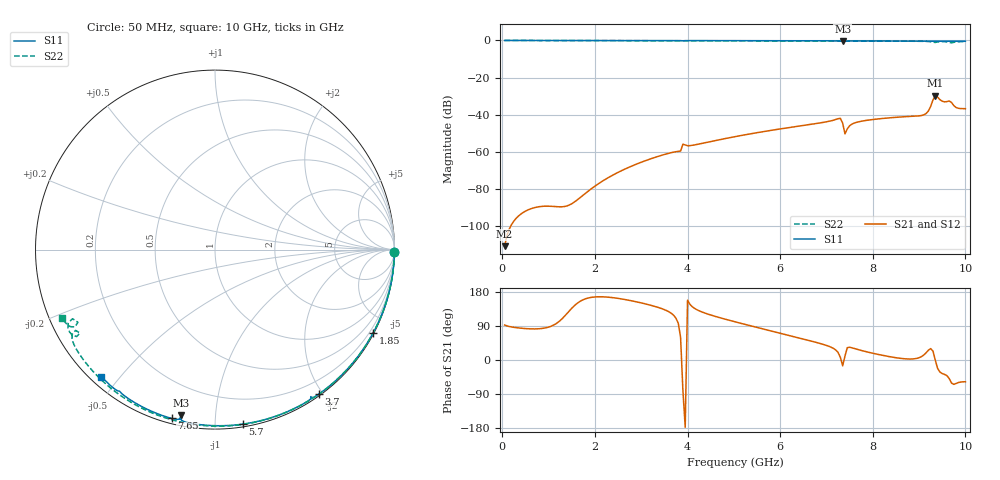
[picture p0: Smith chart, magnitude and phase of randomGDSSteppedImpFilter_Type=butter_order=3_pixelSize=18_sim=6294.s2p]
! freq	dB(S11)	phase(S11)	dB(S12)	phase(S12)
!  dB(S21)	phase(S21)	dB(S22)	phase(S22)
!S-par simulation data
#  GHz  S  DB  R 50
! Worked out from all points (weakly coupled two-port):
!   200 points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, 50 MHz to 10 GHz, reference 50 ohm
!   highest |S21| = -29.73 dB at 9.35 GHz (marker M1); lowest = -110.6 dB at 50 MHz (marker M2)
!   lowest |S11| = -0.5 dB at 7.35 GHz (marker M3), VSWR 34.33, Z = 2.42 - j40.7 ohm
!   |S11| at or under -10 dB: nowhere
!   |S22| runs from -1.3 to 0.0 dB; largest |S21 - S12| = 0
!   S11 on the Smith chart (normalised r, x): 50 MHz: open; 1.85 GHz: 0.04, -4.05; 3.7 GHz: 0.02, -1.95; 5.7 GHz: 0.02, -1.17; 7.65 GHz: 0.02, -0.77; 10 GHz: 0.03, -0.45
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0.05  -0.00 -0.8  -110.64 92.3  -110.64 92.3  -0.00 -0.9
1.75  -0.03 -26.3  -83.14 159.3  -83.14 159.3  -0.04 -31.3
1.85  -0.04 -27.8  -81.14 163.5  -81.14 163.5  -0.04 -33.1
2.65  -0.05 -39.4  -69.15 159.6  -69.15 159.6  -0.06 -46.9
3.4  -0.07 -50.1  -62.07 137.4  -62.07 137.4  -0.08 -59.5
3.7  -0.08 -54.3  -60.05 118.1  -60.05 118.1  -0.09 -64.4
3.85  -0.10 -56.6  -59.50 60.1  -59.50 60.1  -0.09 -66.8
3.9  -0.20 -56.9  -55.80 -80.0  -55.80 -80.0  -0.10 -67.6
5.05  -0.11 -72.4  -51.61 100.0  -51.61 100.0  -0.13 -85.8
5.7  -0.13 -80.9  -48.77 79.8  -48.77 79.8  -0.16 -95.6
6.7  -0.18 -93.5  -44.99 49.0  -44.99 49.0  -0.22 -110.4
7.3  -0.34 -101.7  -41.88 7.1  -41.88 7.1  -0.26 -119.2
7.35  -0.51 -101.6  -44.51 -15.5  -44.51 -15.5  -0.27 -119.9
7.4  -0.41 -101.0  -50.20 10.6  -50.20 10.6  -0.27 -120.6
7.5  -0.28 -102.4  -45.88 33.7  -45.88 33.7  -0.27 -122.0
7.65  -0.26 -104.4  -44.03 28.6  -44.03 28.6  -0.29 -124.2
8.35  -0.29 -112.9  -41.63 9.1  -41.63 9.1  -0.35 -134.3
9.1  -0.37 -121.7  -40.04 13.0  -40.04 13.0  -0.47 -146.1
9.2  -0.39 -122.8  -37.98 25.7  -37.98 25.7  -0.56 -148.2
9.35  -0.42 -124.1  -29.73 -0.5  -29.73 -0.5  -1.07 -148.3
9.8  -0.42 -129.6  -36.06 -61.9  -36.06 -61.9  -0.79 -151.9
10  -0.44 -131.9  -36.70 -57.4  -36.70 -57.4  -0.61 -156.0
